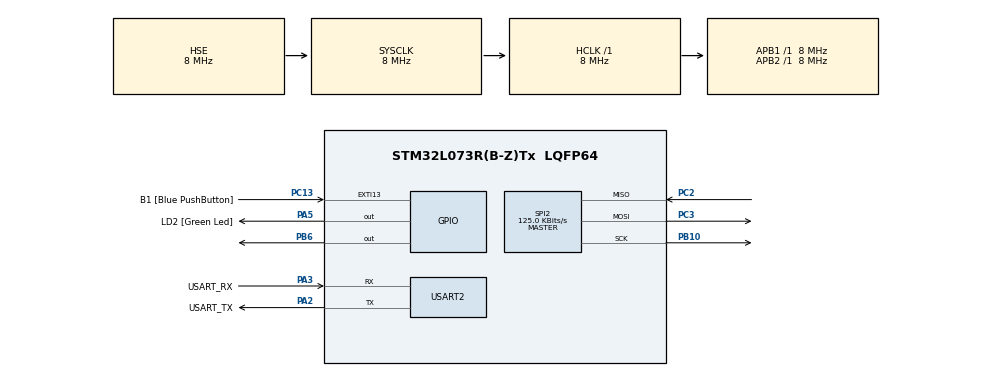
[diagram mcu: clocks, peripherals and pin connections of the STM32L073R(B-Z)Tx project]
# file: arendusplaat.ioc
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Mcu.Family=STM32L0
Mcu.Name=STM32L073R(B-Z)Tx
Mcu.Package=LQFP64
PA13.GPIO_Label=TMS
PA13.Mode=Serial_Wire
PA13.Signal=SYS_SWDIO
PA14.GPIO_Label=TCK
PA14.Mode=Serial_Wire
PA14.Signal=SYS_SWCLK
PA2.GPIO_Label=USART_TX
PA2.Mode=Asynchronous
PA2.Signal=USART2_TX
PA3.GPIO_Label=USART_RX
PA3.Mode=Asynchronous
PA3.Signal=USART2_RX
PA5.GPIO_Label=LD2 [Green Led]
PA5.Signal=GPIO_Output
PB10.Mode=Full_Duplex_Master
PB10.Signal=SPI2_SCK
PB6.Signal=GPIO_Output
PC13.GPIO_Label=B1 [Blue PushButton]
PC13.GPIO_ModeDefaultEXTI=GPIO_MODE_IT_FALLING
PC13.Signal=GPXTI13
PC14-OSC32_IN.Mode=LSE-External-Oscillator
PC14-OSC32_IN.Signal=RCC_OSC32_IN
PC15-OSC32_OUT.Mode=LSE-External-Oscillator
PC15-OSC32_OUT.Signal=RCC_OSC32_OUT
PC2.Mode=Full_Duplex_Master
PC2.Signal=SPI2_MISO
PC3.Mode=Full_Duplex_Master
PC3.Signal=SPI2_MOSI
PH0-OSC_IN.GPIO_Label=MCO
PH0-OSC_IN.Mode=HSE-External-Clock-Source
PH0-OSC_IN.Signal=RCC_OSC_IN
ProjectManager.HeapSize=0x200
ProjectManager.StackSize=0x400
ProjectManager.TargetToolchain=STM32CubeIDE
RCC.AHBFreq_Value=8000000
RCC.APB1Freq_Value=8000000
RCC.APB1TimFreq_Value=8000000
RCC.APB2Freq_Value=8000000
RCC.APB2TimFreq_Value=8000000
RCC.HCLKFreq_Value=8000000
RCC.HSE_VALUE=8000000
RCC.HSI16_VALUE=16000000
RCC.HSI48_VALUE=48000000
RCC.HSI_VALUE=16000000
RCC.MSI_VALUE=2097000
RCC.SYSCLKFreq_VALUE=8000000
RCC.SYSCLKSource=RCC_SYSCLKSOURCE_HSE
RCC.VCOOutputFreq_Value=48000000
SPI2.BaudRatePrescaler=SPI_BAUDRATEPRESCALER_64
SPI2.CalculateBaudRate=125.0 KBits/s
SPI2.DataSize=SPI_DATASIZE_8BIT
SPI2.Direction=SPI_DIRECTION_2LINES
SPI2.Mode=SPI_MODE_MASTER
SPI2.VirtualType=VM_MASTER
STMicroelectronics.X-CUBE-MEMS1.11.1.0.BoardOoPartJjMagJjLIS3MDL=I2C
STMicroelectronics.X-CUBE-MEMS1.11.1.0.LIS3MDL_SA0=VDD
USART2.VirtualMode-Asynchronous=VM_ASYNC
VP_STMicroelectronics.X-CUBE-MEMS1_VS_BoardOoPartJjMag_5.5.0_11.1.0.Mode=BoardOoPartJjMag
board=NUCLEO-L073RZ

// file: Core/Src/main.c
/* USER CODE BEGIN Header */
// ... (Header remains the same)
/* USER CODE END Header */
#include "main.h"

/* USER CODE BEGIN Includes */
#include "lis3mdl.h"
#include "stdio.h"
/* USER CODE END Includes */

SPI_HandleTypeDef hspi2;

UART_HandleTypeDef huart2;

/* USER CODE BEGIN PV */

UART_HandleTypeDef huart2;
LIS3MDL_Object_t lis3mdl; // Initialize!
/* USER CODE END PV */

void SystemClock_Config(void);
static void MX_GPIO_Init(void);
static void MX_USART2_UART_Init(void);
static void MX_SPI2_Init(void);

/* USER CODE BEGIN 0 */
void LIS3MDL_CS_Select(void) {
    HAL_GPIO_WritePin(GPIOB, GPIO_PIN_6, GPIO_PIN_RESET); //CS pin
}

void LIS3MDL_CS_Deselect(void) {
    HAL_GPIO_WritePin(GPIOB, GPIO_PIN_6, GPIO_PIN_SET);
}

int32_t Write_LIS3MDL(void *handle, uint8_t reg, uint8_t *data, uint16_t len) {
    reg |= 0x40; // Multi-write bit
    LIS3MDL_CS_Select();
    HAL_SPI_Transmit(&hspi2, &reg, 1, HAL_MAX_DELAY);
    HAL_SPI_Transmit(&hspi2, data, len, HAL_MAX_DELAY);
    LIS3MDL_CS_Deselect();
    return LIS3MDL_OK;
}

int32_t Read_LIS3MDL(void *handle, uint8_t reg, uint8_t *data, uint16_t len) {
    reg |= 0x80 | 0x40; // Multi-read bit
    LIS3MDL_CS_Select();
    HAL_SPI_Transmit(&hspi2, &reg, 1, HAL_MAX_DELAY);
    HAL_SPI_Receive(&hspi2, data, len, HAL_MAX_DELAY);
    LIS3MDL_CS_Deselect();
    return LIS3MDL_OK;
}

int __io_putchar(int ch) {
    HAL_UART_Transmit(&huart2, (uint8_t *)&ch, 1, HAL_MAX_DELAY);
    return ch;
}

void Read_Magnetometer(void) {
    LIS3MDL_Axes_t axes;
    if (LIS3MDL_MAG_GetAxes(&lis3mdl, &axes) == LIS3MDL_OK) {
        printf("X: %ld, Y: %ld, Z: %ld\r\n", axes.x, axes.y, axes.z); // Correct format specifier
    } else {
        printf("Failed to read magnetometer data\r\n");
    }
}

/* USER CODE END 0 */

int main(void)
{

  /* MCU Configuration--------------------------------------------------------*/

  /* Reset of all peripherals, Initializes the Flash interface and the Systick. */
  HAL_Init();

  /* Configure the system clock */
  SystemClock_Config();

  /* Initialize all configured peripherals */
  MX_GPIO_Init();
  MX_USART2_UART_Init();
  MX_SPI2_Init();
  /* USER CODE BEGIN 2 */
  printf("----------Starting SPI------------\r\n");

      LIS3MDL_IO_t io; //I/O init
      io.BusType = LIS3MDL_SPI_4WIRES_BUS; //sõltuvalt kas mosi on kasutusel
      io.Address = 0; //spi seega aadress puudub aga et ei jääks tühjaks
      io.WriteReg = (LIS3MDL_WriteReg_Func)Write_LIS3MDL;
      io.ReadReg = (LIS3MDL_ReadReg_Func)Read_LIS3MDL;
      io.GetTick = (LIS3MDL_GetTick_Func)(uint32_t (*)())HAL_GetTick;; //Terve aeg oli vist siin viga sees
      io.Delay = HAL_Delay;
      io.Init = NULL; //Hal seega pole vaja
      io.DeInit = NULL;

      lis3mdl.Ctx.handle = &hspi2;
      lis3mdl.Ctx.write_reg = Write_LIS3MDL;
      lis3mdl.Ctx.read_reg = Read_LIS3MDL;
      lis3mdl.IO = io; // need neli olid ka puudu

      uint8_t id;
      if (LIS3MDL_ReadID(&lis3mdl, &id) == LIS3MDL_OK) {
          printf("LIS3MDL WHO_AM_I: 0x%02X\r\n", id);
          if (id != LIS3MDL_ID) {
              printf("Incorrect WHO_AM_I value!\r\n");
              Error_Handler();
          }
      } else {
          printf("Could not read WHO_AM_I\r\n");
          Error_Handler();
      }

      if (LIS3MDL_Init(&lis3mdl) != LIS3MDL_OK) { //Init
          printf("LIS3MDL_Init failed\r\n");
          Error_Handler();
      }
      if (lis3mdl_operating_mode_set(&lis3mdl.Ctx, LIS3MDL_CONTINUOUS_MODE) != LIS3MDL_OK) { //Koguaeg mõõdab
          printf("Error setting operating mode\r\n");
          Error_Handler();
      }
      if (lis3mdl_data_rate_set(&lis3mdl.Ctx, LIS3MDL_UHP_155Hz) != LIS3MDL_OK) { //Kõige suurem
          printf("Error setting data rate\r\n");
          Error_Handler();
      }
      if (LIS3MDL_MAG_SetFullScale(&lis3mdl, 4) != LIS3MDL_OK) { //4 gauss täpsus
          printf("Error setting full scale\r\n");
          Error_Handler();
      }
      uint8_t ctrl_reg1_value;
      if (LIS3MDL_Read_Reg(&lis3mdl, LIS3MDL_CTRL_REG1, &ctrl_reg1_value) != LIS3MDL_OK) {
              printf("Error reading CTRL_REG1\r\n");
              Error_Handler();
          }

      ctrl_reg1_value |= 0x80; // Set TEMP_EN bit et sensor loeks ka temperatuuri
      if (LIS3MDL_Write_Reg(&lis3mdl, LIS3MDL_CTRL_REG1, ctrl_reg1_value) != LIS3MDL_OK) {
          printf("Error writing CTRL_REG1\r\n");
          Error_Handler();
      }

  /* USER CODE END 2 */

  /* Infinite loop */
  /* USER CODE BEGIN WHILE */
      LIS3MDL_Axes_t mag;
          lis3mdl_axis3bit16_t mag_raw; // Correct type for raw data
          float sensitivity;
          float odr;
          int16_t temperature_raw;
          float temperature;
          float eelmine_b_x = 0;

          LIS3MDL_MAG_GetOutputDataRate(&lis3mdl, &odr); // Get current ODR

          while (1) {
              if (lis3mdl_magnetic_raw_get(&lis3mdl.Ctx, mag_raw.i16bit) == LIS3MDL_OK) { // Get raw data (Correct way!)
                  // Access data using mag_raw.i16bit
                  mag.x = (int16_t)mag_raw.i16bit[0];
                  mag.y = (int16_t)mag_raw.i16bit[1];
                  mag.z = (int16_t)mag_raw.i16bit[2];

                  LIS3MDL_MAG_GetSensitivity(&lis3mdl, &sensitivity); // Get sensitivity
                  mag.x = (int32_t)((float)mag.x * sensitivity); // Scale
                  mag.y = (int32_t)((float)mag.y * sensitivity);
                  mag.z = (int32_t)((float)mag.z * sensitivity);

                  //Saab lugeda ka lihtsalt Read_Magnetometer() funktsiooniga, ise kahtlustan et loeb praegu ainult 8 bitti kuigi väljund tegelikult on vist
                  //okei (X:+-XXX Y:+-YYY Z:+-ZZZ). Seega lasin AI mingi asja siia genereerida millest väljund otseselt ei muutunud. Pean testima mõlemat.

                  float b_dot_x = mag.x - eelmine_b_x; //magnetvälja muut
                  eelmine_b_x = mag.x;

                  //Bang-Bang juhtimine
                  //float mu_x_ctrl = 0; //läheb vaja väänduritega
                  if (b_dot_x > 0) {
                  	//mu_x_ctrl = -mu_max; // Negatiivne led põleb
                    HAL_GPIO_WritePin(GPIOA, GPIO_PIN_5, GPIO_PIN_SET);
                  }
                  else if (b_dot_x < 0) {
                    //mu_x_ctrl = mu_max;  // Positiivne led ei põle
                    HAL_GPIO_WritePin(GPIOA, GPIO_PIN_5, GPIO_PIN_RESET);
                    }

                  printf("X: %ld, Y: %ld, Z: %ld\r\n", mag.x, mag.y, mag.z);
              }
              else {
                  printf("Error reading magnetometer\r\n");
              }
              uint8_t temp_data[2];
              if (LIS3MDL_Read_Reg(&lis3mdl, LIS3MDL_TEMP_OUT_L, temp_data) == LIS3MDL_OK) {
              	temperature_raw = (int16_t)((temp_data[1] << 8) | temp_data[0]);  //kaks 8bitist sõna MSB ja LSB, LSB shift vasakule
              	temperature = (float)temperature_raw / 8.0f + 25.0f; //Iga kraad on 8 LSB muutus ja +25 sest väärtus 0 on andmelehe järgi 25 C
              	printf("Temp: %.2f C\r\n", temperature);
               }
               else {
               	printf("Error reading temp\r\n");
               }

              HAL_Delay((uint32_t)(1000.0f / odr)); // Delay based on ODR
              //HAL_Delay(1000);
          }
  /* USER CODE END 3 */
}

void SystemClock_Config(void)
{
  RCC_OscInitTypeDef RCC_OscInitStruct = {0};
  RCC_ClkInitTypeDef RCC_ClkInitStruct = {0};
  RCC_PeriphCLKInitTypeDef PeriphClkInit = {0};

  /** Configure the main internal regulator output voltage
  */
  __HAL_PWR_VOLTAGESCALING_CONFIG(PWR_REGULATOR_VOLTAGE_SCALE1);

  /** Initializes the RCC Oscillators according to the specified parameters
  * in the RCC_OscInitTypeDef structure.
  */
  RCC_OscInitStruct.OscillatorType = RCC_OSCILLATORTYPE_HSE;
  RCC_OscInitStruct.HSEState = RCC_HSE_BYPASS;
  RCC_OscInitStruct.PLL.PLLState = RCC_PLL_NONE;
  if (HAL_RCC_OscConfig(&RCC_OscInitStruct) != HAL_OK)
  {
    Error_Handler();
  }

  /** Initializes the CPU, AHB and APB buses clocks
  */
  RCC_ClkInitStruct.ClockType = RCC_CLOCKTYPE_HCLK|RCC_CLOCKTYPE_SYSCLK
                              |RCC_CLOCKTYPE_PCLK1|RCC_CLOCKTYPE_PCLK2;
  RCC_ClkInitStruct.SYSCLKSource = RCC_SYSCLKSOURCE_HSE;
  RCC_ClkInitStruct.AHBCLKDivider = RCC_SYSCLK_DIV1;
  RCC_ClkInitStruct.APB1CLKDivider = RCC_HCLK_DIV1;
  RCC_ClkInitStruct.APB2CLKDivider = RCC_HCLK_DIV1;

  if (HAL_RCC_ClockConfig(&RCC_ClkInitStruct, FLASH_LATENCY_0) != HAL_OK)
  {
    Error_Handler();
  }
  PeriphClkInit.PeriphClockSelection = RCC_PERIPHCLK_USART2;
  PeriphClkInit.Usart2ClockSelection = RCC_USART2CLKSOURCE_PCLK1;
  if (HAL_RCCEx_PeriphCLKConfig(&PeriphClkInit) != HAL_OK)
  {
    Error_Handler();
  }
}

static void MX_SPI2_Init(void)
{

  /* SPI2 parameter configuration*/
  hspi2.Instance = SPI2;
  hspi2.Init.Mode = SPI_MODE_MASTER;
  hspi2.Init.Direction = SPI_DIRECTION_2LINES;
  hspi2.Init.DataSize = SPI_DATASIZE_8BIT;
  hspi2.Init.CLKPolarity = SPI_POLARITY_LOW;
  hspi2.Init.CLKPhase = SPI_PHASE_1EDGE;
  hspi2.Init.NSS = SPI_NSS_SOFT;
  hspi2.Init.BaudRatePrescaler = SPI_BAUDRATEPRESCALER_64;
  hspi2.Init.FirstBit = SPI_FIRSTBIT_MSB;
  hspi2.Init.TIMode = SPI_TIMODE_DISABLE;
  hspi2.Init.CRCCalculation = SPI_CRCCALCULATION_DISABLE;
  hspi2.Init.CRCPolynomial = 7;
  if (HAL_SPI_Init(&hspi2) != HAL_OK)
  {
    Error_Handler();
  }

}

static void MX_USART2_UART_Init(void)
{

  huart2.Instance = USART2;
  huart2.Init.BaudRate = 115200;
  huart2.Init.WordLength = UART_WORDLENGTH_8B;
  huart2.Init.StopBits = UART_STOPBITS_1;
  huart2.Init.Parity = UART_PARITY_NONE;
  huart2.Init.Mode = UART_MODE_TX_RX;
  huart2.Init.HwFlowCtl = UART_HWCONTROL_NONE;
  huart2.Init.OverSampling = UART_OVERSAMPLING_16;
  huart2.Init.OneBitSampling = UART_ONE_BIT_SAMPLE_DISABLE;
  huart2.AdvancedInit.AdvFeatureInit = UART_ADVFEATURE_NO_INIT;
  if (HAL_UART_Init(&huart2) != HAL_OK)
  {
    Error_Handler();
  }

}

static void MX_GPIO_Init(void)
{
  GPIO_InitTypeDef GPIO_InitStruct = {0};

  /* GPIO Ports Clock Enable */
  __HAL_RCC_GPIOC_CLK_ENABLE();
  __HAL_RCC_GPIOH_CLK_ENABLE();
  __HAL_RCC_GPIOA_CLK_ENABLE();
  __HAL_RCC_GPIOB_CLK_ENABLE();

  /*Configure GPIO pin Output Level */
  HAL_GPIO_WritePin(LD2_GPIO_Port, LD2_Pin, GPIO_PIN_RESET);

  /*Configure GPIO pin Output Level */
  HAL_GPIO_WritePin(GPIOB, GPIO_PIN_6, GPIO_PIN_RESET);

  /*Configure GPIO pin : B1_Pin */
  GPIO_InitStruct.Pin = B1_Pin;
  GPIO_InitStruct.Mode = GPIO_MODE_IT_FALLING;
  GPIO_InitStruct.Pull = GPIO_NOPULL;
  HAL_GPIO_Init(B1_GPIO_Port, &GPIO_InitStruct);

  /*Configure GPIO pin : LD2_Pin */
  GPIO_InitStruct.Pin = LD2_Pin;
  GPIO_InitStruct.Mode = GPIO_MODE_OUTPUT_PP;
  GPIO_InitStruct.Pull = GPIO_NOPULL;
  GPIO_InitStruct.Speed = GPIO_SPEED_FREQ_LOW;
  HAL_GPIO_Init(LD2_GPIO_Port, &GPIO_InitStruct);

  /*Configure GPIO pin : PB6 */
  GPIO_InitStruct.Pin = GPIO_PIN_6;
  GPIO_InitStruct.Mode = GPIO_MODE_OUTPUT_PP;
  GPIO_InitStruct.Pull = GPIO_NOPULL;
  GPIO_InitStruct.Speed = GPIO_SPEED_FREQ_LOW;
  HAL_GPIO_Init(GPIOB, &GPIO_InitStruct);

}

/* USER CODE BEGIN 4 */

  /* USER CODE BEGIN I2C1_Init 2 */

  /* USER CODE END I2C1_Init 2 */

/* USER CODE END 4 */

void Error_Handler(void)
{
  __disable_irq();
  while (1)
  {
  }
}
